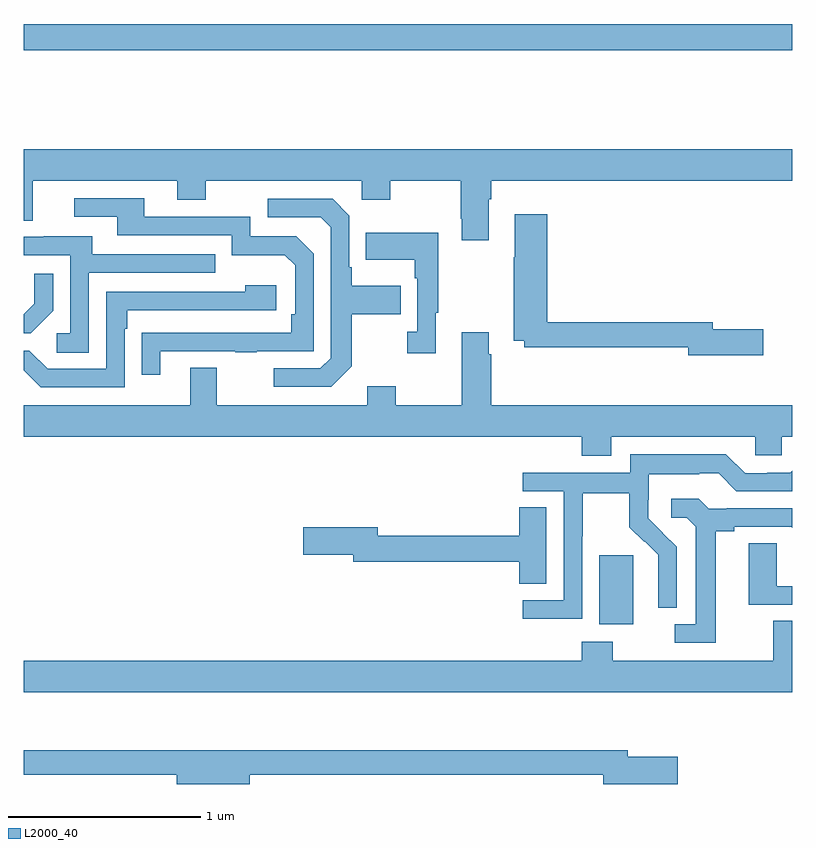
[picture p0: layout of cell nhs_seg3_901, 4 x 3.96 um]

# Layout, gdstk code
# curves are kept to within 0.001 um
import gdstk
lib = gdstk.Library(unit=1e-6, precision=1e-09)
def R(c, l, rs):  # rectangles x0, y0, x1, y1
    for r in rs: c.add(gdstk.rectangle(r[:2], r[2:], *l))
def P(c, l, *ps):  # polygons
    for p in ps: c.add(gdstk.Polygon(p, *l))
L2000_40 = (2000, 40)

nhs_seg3_901 = lib.new_cell('nhs_seg3_901')
R(nhs_seg3_901, L2000_40, [(159.995,721.25,160.174,721.611), (157,724.24,161,724.376)])
P(nhs_seg3_901, L2000_40, [(159.421,723.464),(159.434,723.464),(159.434,723.56),(161,723.56),(161,723.724),(157,723.724),(157,723.352),(157.045,723.352),(157.045,723.56),(157.799,723.56),(157.799,723.461),(157.947,723.461),(157.947,723.56),(158.76,723.56),(158.76,723.461),(158.907,723.461),(158.907,723.56),(159.274,723.56),(159.274,723.361),(159.281,723.361),(159.281,723.249),(159.421,723.249)],
  [(157.711,722.673),(158.101,722.673),(158.101,722.668),(158.213,722.668),(158.213,722.673),(158.508,722.673),(158.508,723.18),(158.418,723.27),(158.178,723.27),(158.178,723.372),(157.627,723.372),(157.627,723.468),(157.263,723.468),(157.263,723.372),(157.487,723.372),(157.487,723.276),(158.082,723.276),(158.082,723.173),(158.359,723.173),(158.412,723.12),(158.412,722.866),(158.392,722.866),(158.392,722.769),(157.615,722.768),(157.615,722.55),(157.711,722.55)],
  [(158.707,722.593),(158.707,722.866),(158.963,722.866),(158.963,723.013),(158.707,723.013),(158.707,723.109),(158.694,723.109),(158.694,723.378),(158.607,723.465),(158.271,723.465),(158.271,723.369),(158.547,723.369),(158.598,723.318),(158.598,722.637),(158.544,722.583),(158.301,722.583),(158.301,722.487),(158.601,722.487)],
  [(160.849,722.786),(160.588,722.786),(160.588,722.822),(159.725,722.822),(159.725,723.385),(159.557,723.385),(159.557,723.161),(159.55,723.161),(159.55,722.726),(159.606,722.726),(159.606,722.694),(160.46,722.694),(160.46,722.651),(160.849,722.651)],
  [(159.145,722.873),(159.157,722.873),(159.157,723.289),(158.779,723.289),(158.779,723.149),(159.036,723.149),(159.036,723.053),(159.048,723.053),(159.048,722.774),(158.997,722.774),(158.997,722.661),(159.145,722.661)],
  [(157.338,723.081),(157.997,723.081),(157.997,723.177),(157.357,723.177),(157.357,723.271),(157.103,723.271),(157.103,723.267),(157,723.267),(157,723.171),(157.242,723.171),(157.242,722.766),(157.17,722.766),(157.17,722.665),(157.338,722.665)],
  [(157.152,722.882),(157.152,723.076),(157.055,723.076),(157.055,722.919),(157,722.864),(157,722.766),(157.036,722.766)],
  [(157.524,722.789),(157.537,722.789),(157.537,722.886),(158.314,722.886),(158.314,723.016),(158.153,723.016),(158.153,722.982),(157.428,722.982),(157.428,722.58),(157.125,722.58),(157.029,722.676),(157,722.676),(157,722.573),(157.089,722.484),(157.524,722.484)],
  [(160.057,722.228),(160.809,722.228),(160.809,722.13),(160.947,722.13),(160.947,722.228),(161,722.228),(161,722.392),(159.434,722.392),(159.434,722.657),(159.421,722.657),(159.421,722.77),(159.281,722.77),(159.281,722.392),(158.937,722.392),(158.937,722.491),(158.789,722.491),(158.789,722.392),(158.005,722.392),(158.005,722.587),(157.865,722.587),(157.865,722.392),(157,722.392),(157,722.228),(159.905,722.228),(159.905,722.129),(160.057,722.129)],
  [(159.906,721.708),(159.909,721.708),(159.909,721.932),(160.153,721.932),(160.153,721.757),(160.23,721.68),(160.233,721.683),(160.304,721.613),(160.304,721.49),(160.302,721.49),(160.302,721.336),(160.398,721.336),(160.398,721.654),(160.252,721.802),(160.252,721.899),(160.254,721.899),(160.254,722.033),(160.517,722.033),(160.517,722.037),(160.617,722.037),(160.71,721.944),(161,721.944),(161,722.051),(160.989,722.04),(160.871,722.04),(160.871,722.037),(160.755,722.037),(160.655,722.137),(160.158,722.137),(160.158,722.04),(159.597,722.04),(159.597,721.944),(159.81,721.944),(159.81,721.377),(159.597,721.377),(159.597,721.279),(159.906,721.279)],
  [(160.603,721.736),(160.699,721.736),(160.699,721.758),(160.994,721.758),(161,721.752),(161,721.854),(160.66,721.854),(160.66,721.851),(160.566,721.851),(160.514,721.903),(160.371,721.903),(160.371,721.806),(160.452,721.806),(160.499,721.759),(160.499,721.251),(160.389,721.251),(160.389,721.155),(160.603,721.155)],
  [(159.721,721.859),(159.578,721.859),(159.578,721.712),(158.842,721.712),(158.842,721.755),(158.454,721.755),(158.454,721.613),(158.714,721.613),(158.714,721.576),(159.578,721.576),(159.578,721.462),(159.721,721.462)],
  [(161,721.449),(160.92,721.449),(160.92,721.673),(160.775,721.673),(160.775,721.353),(161,721.353)],
  [(161,721.268),(160.901,721.268),(160.901,721.06),(160.065,721.06),(160.065,721.159),(159.905,721.159),(159.905,721.06),(157,721.06),(157,720.896),(161,720.896)],
  [(158.176,720.466),(160.016,720.466),(160.016,720.419),(160.405,720.419),(160.405,720.561),(160.144,720.561),(160.144,720.595),(157,720.595),(157,720.466),(157.796,720.466),(157.796,720.419),(158.176,720.419)])

lib.write_gds('nhs_seg3_901.gds')
